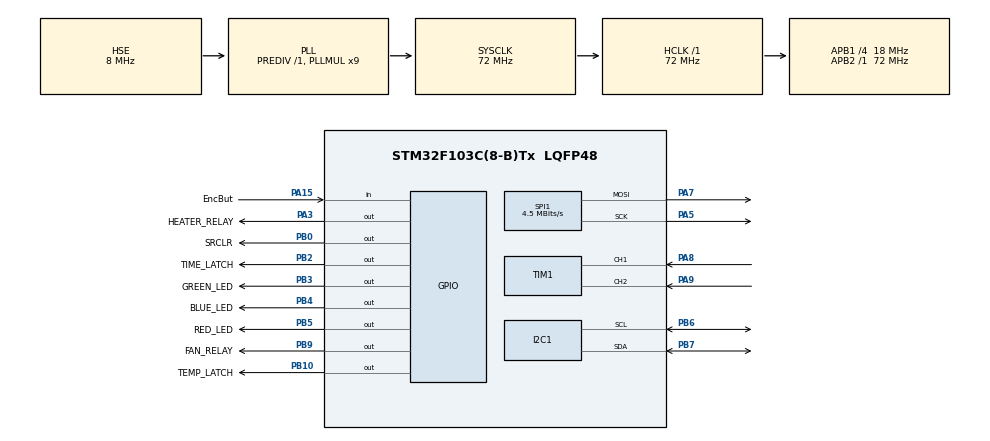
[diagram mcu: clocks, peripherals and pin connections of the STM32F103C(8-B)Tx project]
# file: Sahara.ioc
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Mcu.Family=STM32F1
Mcu.Name=STM32F103C(8-B)Tx
Mcu.Package=LQFP48
NVIC.PriorityGroup=NVIC_PRIORITYGROUP_4
NVIC.RTC_Alarm_IRQn=true\:0\:0\:false\:false\:true\:true\:true\:true
NVIC.TIM2_IRQn=true\:0\:0\:false\:false\:true\:true\:true\:true
PA13.Mode=Serial_Wire
PA13.Signal=SYS_JTMS-SWDIO
PA14.Mode=Serial_Wire
PA14.Signal=SYS_JTCK-SWCLK
PA15.GPIO_Label=EncBut
PA15.Signal=GPIO_Input
PA3.GPIO_Label=HEATER_RELAY
PA3.Signal=GPIO_Output
PA5.Mode=TX_Only_Simplex_Unidirect_Master
PA5.Signal=SPI1_SCK
PA7.Mode=TX_Only_Simplex_Unidirect_Master
PA7.Signal=SPI1_MOSI
PA8.Signal=S_TIM1_CH1
PA9.Signal=S_TIM1_CH2
PB0.GPIO_Label=SRCLR
PB0.PinState=GPIO_PIN_SET
PB0.Signal=GPIO_Output
PB10.GPIO_Label=TEMP_LATCH
PB10.PinState=GPIO_PIN_RESET
PB10.Signal=GPIO_Output
PB2.GPIO_Label=TIME_LATCH
PB2.Signal=GPIO_Output
PB3.GPIO_Label=GREEN_LED
PB3.PinState=GPIO_PIN_SET
PB3.Signal=GPIO_Output
PB4.GPIO_Label=BLUE_LED
PB4.PinState=GPIO_PIN_SET
PB4.Signal=GPIO_Output
PB5.GPIO_Label=RED_LED
PB5.PinState=GPIO_PIN_SET
PB5.Signal=GPIO_Output
PB6.GPIO_Mode=GPIO_MODE_AF_OD
PB6.Mode=I2C
PB6.Signal=I2C1_SCL
PB7.GPIO_Mode=GPIO_MODE_AF_OD
PB7.GPIO_Speed=GPIO_SPEED_FREQ_HIGH
PB7.Mode=I2C
PB7.Signal=I2C1_SDA
PB9.GPIO_Label=FAN_RELAY
PB9.Signal=GPIO_Output
PD0-OSC_IN.Mode=HSE-External-Oscillator
PD0-OSC_IN.Signal=RCC_OSC_IN
PD1-OSC_OUT.Mode=HSE-External-Oscillator
PD1-OSC_OUT.Signal=RCC_OSC_OUT
ProjectManager.HeapSize=0x200
ProjectManager.StackSize=0x400
ProjectManager.TargetToolchain=STM32CubeIDE
RCC.AHBFreq_Value=72000000
RCC.APB1CLKDivider=RCC_HCLK_DIV4
RCC.APB1Freq_Value=18000000
RCC.APB1TimFreq_Value=36000000
RCC.APB2Freq_Value=72000000
RCC.APB2TimFreq_Value=72000000
RCC.HCLKFreq_Value=72000000
RCC.PLLMUL=RCC_PLL_MUL9
RCC.PLLSourceVirtual=RCC_PLLSOURCE_HSE
RCC.SYSCLKFreq_VALUE=72000000
RCC.SYSCLKSource=RCC_SYSCLKSOURCE_PLLCLK
RCC.USBFreq_Value=72000000
RTC.Format=RTC_FORMAT_BIN
SH.S_TIM1_CH1.0=TIM1_CH1,Encoder_Interface
SH.S_TIM1_CH2.0=TIM1_CH2,Encoder_Interface
SPI1.BaudRatePrescaler=SPI_BAUDRATEPRESCALER_16
SPI1.CLKPolarity=SPI_POLARITY_HIGH
SPI1.CalculateBaudRate=4.5 MBits/s
SPI1.Direction=SPI_DIRECTION_2LINES
SPI1.FirstBit=SPI_FIRSTBIT_LSB
SPI1.Mode=SPI_MODE_MASTER
SPI1.VirtualType=VM_MASTER
TIM1.EncoderMode=TIM_ENCODERMODE_TI12
TIM1.IC1Filter=10
TIM1.IC2Filter=10
TIM2.Period=59999
TIM2.Prescaler=35999
VP_RTC_VS_RTC_Activate.Mode=RTC_Enabled
VP_TIM2_VS_ClockSourceINT.Mode=Internal
board=custom

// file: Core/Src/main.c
/* USER CODE BEGIN Header */
/**
  ******************************************************************************
  * @file           : main.c
  * @brief          : Main program body
  ******************************************************************************
  * @attention
  *
  * Copyright (c) 2024 STMicroelectronics.
  * All rights reserved.
  *
  * This software is licensed under terms that can be found in the LICENSE file
  * in the root directory of this software component.
  * If no LICENSE file comes with this software, it is provided AS-IS.
  *
  ******************************************************************************
  */
/* USER CODE END Header */
#include "main.h"

/* USER CODE BEGIN Includes */
#include "Output_manager.h"
#include "Input_manager.h"
/* USER CODE END Includes */

I2C_HandleTypeDef hi2c1;

RTC_HandleTypeDef hrtc;

SPI_HandleTypeDef hspi1;

TIM_HandleTypeDef htim1;
TIM_HandleTypeDef htim2;

/* USER CODE BEGIN PV */

static int16_t time = 0;
static float temp = 0.0;
static float targetTemp;
typedef enum {
    START_UP,
    INPUT_TEMP,
    INPUT_TIME,
    HEATUP,
    CRUISE,
    COOLDOWN,
    NUM_STAGES  // Total number of stages (used for array size)
} stages;

static stages stage;

typedef void (*StageFunction)(void);  // Function pointer type

/* USER CODE END PV */

void SystemClock_Config(void);
static void MX_GPIO_Init(void);
static void MX_SPI1_Init(void);
static void MX_TIM1_Init(void);
static void MX_RTC_Init(void);
static void MX_I2C1_Init(void);
static void MX_TIM2_Init(void);

/* USER CODE BEGIN 0 */

void HAL_TIM_PeriodElapsedCallback(TIM_HandleTypeDef *htim) {
    if (htim->Instance == TIM2) {  // Check if TIM2 triggered the interrupt
    	time--;
    	if(time<0){
    		stage=START_UP;
    		return;
    	}
    	displayTime(time);
    }
}

void start_up(){
	HAL_TIM_Base_Stop_IT(&htim2);
	setRelay(HEATER, 0);
	setRelay(FAN, 0);
	displayColor(BLACK);

	targetTemp = 50.0;
	time = 4*60 + 30;

	displayNumber((int)targetTemp, TEMP);
	displayTime(time);

	stage = INPUT_TEMP;
}

void input_temp(){
	displayColor(YELLOW);
	if(readEncoder(3)==HIGHER){
		targetTemp++;
	}
	if(readEncoder(3)==LOWER){
		targetTemp--;
	}
	displayNumber((int)targetTemp, TEMP);
	if (HAL_GPIO_ReadPin(EncBut_GPIO_Port, EncBut_Pin)==1){
		stage = INPUT_TIME;
	}
}

void input_time(){
	displayColor(CYAN);
	if(readEncoder(3)==HIGHER){
		time+=15;
	}
	if(readEncoder(3)==LOWER||time!=15){
		time-=15;
	}
	displayNumber((int)targetTemp, TEMP);
	if (HAL_GPIO_ReadPin(EncBut_GPIO_Port, EncBut_Pin)==1){
		stage = INPUT_TIME;
	}
}

void heatup(){

}

void cruise(){

}

void cooldown(){

}

StageFunction stageHandlers[NUM_STAGES] = {
    start_up,   // START_UP
    input_temp, // INPUT_TEMP
    input_time, // INPUT_TIME
    heatup,     // HEATUP
    cruise,     // CRUISE
    cooldown    // COOLDOWN
};

void set_alarm(uint8_t min)
{
    RTC_TimeTypeDef sTime = {0};  // Correct structure
    RTC_AlarmTypeDef sAlarm = {0}; // Keep sAlarm for setting alarm

    // Get the current time
    HAL_RTC_GetTime(&hrtc, &sTime, RTC_FORMAT_BIN);

    // Set the alarm time based on current time
    sAlarm.AlarmTime.Hours = sTime.Hours;
    sAlarm.AlarmTime.Minutes = sTime.Minutes;
    sAlarm.AlarmTime.Seconds = sTime.Seconds + min;
	sAlarm.Alarm = RTC_ALARM_A;
	if (HAL_RTC_SetAlarm_IT(&hrtc, &sAlarm, RTC_FORMAT_BIN) != HAL_OK)
	{
		Error_Handler();
	}
}

/* USER CODE END 0 */

int main(void)
{

  /* MCU Configuration--------------------------------------------------------*/

  /* Reset of all peripherals, Initializes the Flash interface and the Systick. */
  HAL_Init();

  /* Configure the system clock */
  SystemClock_Config();

  /* Initialize all configured peripherals */
  MX_GPIO_Init();
  MX_SPI1_Init();
  MX_TIM1_Init();
  MX_RTC_Init();
  MX_I2C1_Init();
  MX_TIM2_Init();
  /* USER CODE BEGIN 2 */

  setupTMP102();
  setupEncoder();
  stage = START_UP;

  /* USER CODE END 2 */

  /* Infinite loop */
  /* USER CODE BEGIN WHILE */

  //HAL_Delay(1000);
  while (1)
  {
	  stageHandlers[stage]();

	  /*
	   * if(HAL_I2C_IsDeviceReady(&hi2c1, (uint16_t)(TMP102_ADR<<1), 3, 25)==HAL_OK){
		  DisplayColor(GREEN);
	  }else{
		  DisplayColor(RED);
	  }
	  HAL_Delay(500);
	  if(timeState==0){
	  HAL_GPIO_WritePin(GPIOB, Fan_Relay_Pin, 0);
	  DisplayColor(CYAN);
	  EncRaw = __HAL_TIM_GET_COUNTER(&htim1);
	  if (EncRaw>=3+OldEncRaw){
		  count+=1;
		  OldEncRaw=EncRaw;
	  }
	  if (EncRaw<=OldEncRaw-3){
		  if(count!=0){
			  count-=1;
		  }
		  OldEncRaw=EncRaw;

	  }
	  DisplayNumber(count);
	  if (HAL_GPIO_ReadPin(EncBut_GPIO_Port, EncBut_Pin)==1){
		  DisplayColor(YELLOW);
		  timeState=1;
		  HAL_GPIO_WritePin(GPIOB, Fan_Relay_Pin, 1);
		  time = count;
		  set_alarm(1);
	  }
	  }
	*/

    /* USER CODE END WHILE */

  }
}

void SystemClock_Config(void)
{
  RCC_OscInitTypeDef RCC_OscInitStruct = {0};
  RCC_ClkInitTypeDef RCC_ClkInitStruct = {0};
  RCC_PeriphCLKInitTypeDef PeriphClkInit = {0};

  /** Initializes the RCC Oscillators according to the specified parameters
  * in the RCC_OscInitTypeDef structure.
  */
  RCC_OscInitStruct.OscillatorType = RCC_OSCILLATORTYPE_LSI|RCC_OSCILLATORTYPE_HSE;
  RCC_OscInitStruct.HSEState = RCC_HSE_ON;
  RCC_OscInitStruct.HSEPredivValue = RCC_HSE_PREDIV_DIV1;
  RCC_OscInitStruct.HSIState = RCC_HSI_ON;
  RCC_OscInitStruct.LSIState = RCC_LSI_ON;
  RCC_OscInitStruct.PLL.PLLState = RCC_PLL_ON;
  RCC_OscInitStruct.PLL.PLLSource = RCC_PLLSOURCE_HSE;
  RCC_OscInitStruct.PLL.PLLMUL = RCC_PLL_MUL9;
  if (HAL_RCC_OscConfig(&RCC_OscInitStruct) != HAL_OK)
  {
    Error_Handler();
  }

  /** Initializes the CPU, AHB and APB buses clocks
  */
  RCC_ClkInitStruct.ClockType = RCC_CLOCKTYPE_HCLK|RCC_CLOCKTYPE_SYSCLK
                              |RCC_CLOCKTYPE_PCLK1|RCC_CLOCKTYPE_PCLK2;
  RCC_ClkInitStruct.SYSCLKSource = RCC_SYSCLKSOURCE_PLLCLK;
  RCC_ClkInitStruct.AHBCLKDivider = RCC_SYSCLK_DIV1;
  RCC_ClkInitStruct.APB1CLKDivider = RCC_HCLK_DIV4;
  RCC_ClkInitStruct.APB2CLKDivider = RCC_HCLK_DIV1;

  if (HAL_RCC_ClockConfig(&RCC_ClkInitStruct, FLASH_LATENCY_2) != HAL_OK)
  {
    Error_Handler();
  }
  PeriphClkInit.PeriphClockSelection = RCC_PERIPHCLK_RTC;
  PeriphClkInit.RTCClockSelection = RCC_RTCCLKSOURCE_LSI;
  if (HAL_RCCEx_PeriphCLKConfig(&PeriphClkInit) != HAL_OK)
  {
    Error_Handler();
  }
}

static void MX_I2C1_Init(void)
{

  hi2c1.Instance = I2C1;
  hi2c1.Init.ClockSpeed = 100000;
  hi2c1.Init.DutyCycle = I2C_DUTYCYCLE_2;
  hi2c1.Init.OwnAddress1 = 0;
  hi2c1.Init.AddressingMode = I2C_ADDRESSINGMODE_7BIT;
  hi2c1.Init.DualAddressMode = I2C_DUALADDRESS_DISABLE;
  hi2c1.Init.OwnAddress2 = 0;
  hi2c1.Init.GeneralCallMode = I2C_GENERALCALL_DISABLE;
  hi2c1.Init.NoStretchMode = I2C_NOSTRETCH_DISABLE;
  if (HAL_I2C_Init(&hi2c1) != HAL_OK)
  {
    Error_Handler();
  }

}

static void MX_RTC_Init(void)
{

  /** Initialize RTC Only
  */
  hrtc.Instance = RTC;
  hrtc.Init.AsynchPrediv = RTC_AUTO_1_SECOND;
  hrtc.Init.OutPut = RTC_OUTPUTSOURCE_ALARM;
  if (HAL_RTC_Init(&hrtc) != HAL_OK)
  {
    Error_Handler();
  }

}

static void MX_SPI1_Init(void)
{

  /* SPI1 parameter configuration*/
  hspi1.Instance = SPI1;
  hspi1.Init.Mode = SPI_MODE_MASTER;
  hspi1.Init.Direction = SPI_DIRECTION_2LINES;
  hspi1.Init.DataSize = SPI_DATASIZE_8BIT;
  hspi1.Init.CLKPolarity = SPI_POLARITY_HIGH;
  hspi1.Init.CLKPhase = SPI_PHASE_1EDGE;
  hspi1.Init.NSS = SPI_NSS_SOFT;
  hspi1.Init.BaudRatePrescaler = SPI_BAUDRATEPRESCALER_16;
  hspi1.Init.FirstBit = SPI_FIRSTBIT_LSB;
  hspi1.Init.TIMode = SPI_TIMODE_DISABLE;
  hspi1.Init.CRCCalculation = SPI_CRCCALCULATION_DISABLE;
  hspi1.Init.CRCPolynomial = 10;
  if (HAL_SPI_Init(&hspi1) != HAL_OK)
  {
    Error_Handler();
  }

}

static void MX_TIM1_Init(void)
{

  TIM_Encoder_InitTypeDef sConfig = {0};
  TIM_MasterConfigTypeDef sMasterConfig = {0};

  htim1.Instance = TIM1;
  htim1.Init.Prescaler = 0;
  htim1.Init.CounterMode = TIM_COUNTERMODE_UP;
  htim1.Init.Period = 65535;
  htim1.Init.ClockDivision = TIM_CLOCKDIVISION_DIV1;
  htim1.Init.RepetitionCounter = 0;
  htim1.Init.AutoReloadPreload = TIM_AUTORELOAD_PRELOAD_DISABLE;
  sConfig.EncoderMode = TIM_ENCODERMODE_TI12;
  sConfig.IC1Polarity = TIM_ICPOLARITY_RISING;
  sConfig.IC1Selection = TIM_ICSELECTION_DIRECTTI;
  sConfig.IC1Prescaler = TIM_ICPSC_DIV1;
  sConfig.IC1Filter = 10;
  sConfig.IC2Polarity = TIM_ICPOLARITY_RISING;
  sConfig.IC2Selection = TIM_ICSELECTION_DIRECTTI;
  sConfig.IC2Prescaler = TIM_ICPSC_DIV1;
  sConfig.IC2Filter = 10;
  if (HAL_TIM_Encoder_Init(&htim1, &sConfig) != HAL_OK)
  {
    Error_Handler();
  }
  sMasterConfig.MasterOutputTrigger = TIM_TRGO_RESET;
  sMasterConfig.MasterSlaveMode = TIM_MASTERSLAVEMODE_DISABLE;
  if (HAL_TIMEx_MasterConfigSynchronization(&htim1, &sMasterConfig) != HAL_OK)
  {
    Error_Handler();
  }

}

static void MX_TIM2_Init(void)
{

  TIM_ClockConfigTypeDef sClockSourceConfig = {0};
  TIM_MasterConfigTypeDef sMasterConfig = {0};

  htim2.Instance = TIM2;
  htim2.Init.Prescaler = 35999;
  htim2.Init.CounterMode = TIM_COUNTERMODE_UP;
  htim2.Init.Period = 59999;
  htim2.Init.ClockDivision = TIM_CLOCKDIVISION_DIV1;
  htim2.Init.AutoReloadPreload = TIM_AUTORELOAD_PRELOAD_DISABLE;
  if (HAL_TIM_Base_Init(&htim2) != HAL_OK)
  {
    Error_Handler();
  }
  sClockSourceConfig.ClockSource = TIM_CLOCKSOURCE_INTERNAL;
  if (HAL_TIM_ConfigClockSource(&htim2, &sClockSourceConfig) != HAL_OK)
  {
    Error_Handler();
  }
  sMasterConfig.MasterOutputTrigger = TIM_TRGO_RESET;
  sMasterConfig.MasterSlaveMode = TIM_MASTERSLAVEMODE_DISABLE;
  if (HAL_TIMEx_MasterConfigSynchronization(&htim2, &sMasterConfig) != HAL_OK)
  {
    Error_Handler();
  }

}

static void MX_GPIO_Init(void)
{
  GPIO_InitTypeDef GPIO_InitStruct = {0};

  /* GPIO Ports Clock Enable */
  __HAL_RCC_GPIOD_CLK_ENABLE();
  __HAL_RCC_GPIOA_CLK_ENABLE();
  __HAL_RCC_GPIOB_CLK_ENABLE();

  /*Configure GPIO pin Output Level */
  HAL_GPIO_WritePin(HEATER_RELAY_GPIO_Port, HEATER_RELAY_Pin, GPIO_PIN_RESET);

  /*Configure GPIO pin Output Level */
  HAL_GPIO_WritePin(GPIOB, SRCLR_Pin|GREEN_LED_Pin|BLUE_LED_Pin|RED_LED_Pin, GPIO_PIN_SET);

  /*Configure GPIO pin Output Level */
  HAL_GPIO_WritePin(GPIOB, TIME_LATCH_Pin|TEMP_LATCH_Pin|FAN_RELAY_Pin, GPIO_PIN_RESET);

  /*Configure GPIO pin : HEATER_RELAY_Pin */
  GPIO_InitStruct.Pin = HEATER_RELAY_Pin;
  GPIO_InitStruct.Mode = GPIO_MODE_OUTPUT_PP;
  GPIO_InitStruct.Pull = GPIO_NOPULL;
  GPIO_InitStruct.Speed = GPIO_SPEED_FREQ_LOW;
  HAL_GPIO_Init(HEATER_RELAY_GPIO_Port, &GPIO_InitStruct);

  /*Configure GPIO pins : SRCLR_Pin TIME_LATCH_Pin TEMP_LATCH_Pin GREEN_LED_Pin
                           BLUE_LED_Pin RED_LED_Pin FAN_RELAY_Pin */
  GPIO_InitStruct.Pin = SRCLR_Pin|TIME_LATCH_Pin|TEMP_LATCH_Pin|GREEN_LED_Pin
                          |BLUE_LED_Pin|RED_LED_Pin|FAN_RELAY_Pin;
  GPIO_InitStruct.Mode = GPIO_MODE_OUTPUT_PP;
  GPIO_InitStruct.Pull = GPIO_NOPULL;
  GPIO_InitStruct.Speed = GPIO_SPEED_FREQ_LOW;
  HAL_GPIO_Init(GPIOB, &GPIO_InitStruct);

  /*Configure GPIO pin : EncBut_Pin */
  GPIO_InitStruct.Pin = EncBut_Pin;
  GPIO_InitStruct.Mode = GPIO_MODE_INPUT;
  GPIO_InitStruct.Pull = GPIO_NOPULL;
  HAL_GPIO_Init(EncBut_GPIO_Port, &GPIO_InitStruct);

}

/* USER CODE BEGIN 4 */

/*
void HAL_RTC_AlarmAEventCallback(RTC_HandleTypeDef *hrtc)
{

  DisplayNumber(time,TIME);
  if(time==0){
	  timeState=0;
  }else{
	  time-=1;
	  set_alarm(1);
  }

}
*/
/* USER CODE END 4 */

void Error_Handler(void)
{
  __disable_irq();
  while (1)
  {
  }
}
